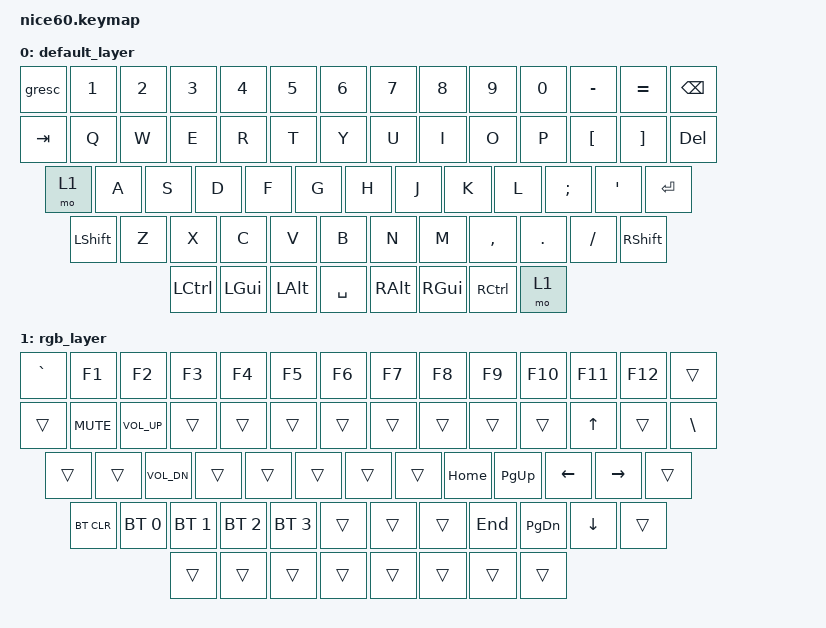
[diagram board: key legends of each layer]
/*
 * Copyright (c) 2021 Nick Winans
 *
 * SPDX-License-Identifier: MIT
 */

#include <behaviors.dtsi>
#include <dt-bindings/zmk/keys.h>
#include <dt-bindings/zmk/rgb.h>
#include <dt-bindings/zmk/bt.h>
#include <dt-bindings/zmk/outputs.h>
#include <dt-bindings/zmk/reset.h>
#include <dt-bindings/zmk/ext_power.h>

/ {
	keymap {
		compatible = "zmk,keymap";
		
		default_layer {
// ------------------------------------------------------------------------------------------
// | ESC |  1  |  2  |  3  |  4  |  5  |  6  |  7  |  8  |  9  |  0  |  -  |  =  |   BKSP   |
// | TAB  |  Q  |  W  |  E  |  R  |  T  |  Y  |  U  |  I  |  O  |  P  |  [  |  ]  |  DEL    |
// | MO(1)  |  A  |  S  |  D  |  F  |  G  |  H  |  J  |  K  |  L  |  ;  |  '  |    ENTER    |
// |  SHIFT  |  Z  |  X  |  C  |  V  |  B  |  N  |  M  |  ,  |  .  |  /  |      SHIFT       |
// |  CTL  |  WIN  |  ALT  |            SPACE              |  ALT  |  WIN  | CTL | MO(1)    |
// ------------------------------------------------------------------------------------------
			bindings = <
	&gresc  &kp N1 &kp N2 &kp N3 &kp N4 &kp N5 &kp N6 &kp N7 &kp N8 &kp N9 &kp N0 &kp MINUS &kp EQUAL  &kp BSPC
	&kp TAB  &kp Q  &kp W  &kp E  &kp R  &kp T  &kp Y  &kp U  &kp I  &kp O  &kp P  &kp LBKT  &kp RBKT   &kp DEL
	&mo 1  &kp A  &kp S  &kp D  &kp F  &kp G  &kp H  &kp J  &kp K  &kp L  &kp SEMI &kp SQT              &kp RET
	&kp LSHFT   &kp Z  &kp X  &kp C  &kp V  &kp B  &kp N  &kp M  &kp COMMA &kp DOT &kp FSLH           &kp RSHFT
	&kp LCTRL &kp LGUI &kp LALT             &kp SPACE                     &kp RALT  &kp RGUI  &kp RCTRL   &mo 1  
			>;
		};
 
		rgb_layer {
// ------------------------------------------------------------------------------------------------
// |    GRAVE     | F1  | F2  | F3  | F4  | F5  | F6  | F7  | F8  | F9  | F10  | F11 | F12 |      |
// |     | C_MUTE  | C_VOL_UP |     |     |    |  |  |   |     |    |     |  UP   |      BSLH     |
// |         |   | C_VOL_DN  |   |   |   |   |   | HOME | PG_UP |  LEFT |  RIGHT   |              |
// |  BT CLR  | BT 1   |  BT 2  |  BT 3     |   BT 4   |   |  |   | END |   PG_DN  |  DOWN   |    |
// |        |      |      |                                     |         |       |       |       |
// ------------------------------------------------------------------------------------------------
			bindings = <
	&kp GRAVE   &kp F1    &kp F2    &kp F3  &kp F4           &kp F5          &kp F6          &kp F7          &kp F8   &kp F9   &kp F10  &kp F11 &kp F12   &trans
	&trans  &kp C_MUTE    &kp C_VOL_UP    &trans  &trans  &trans  &trans  &trans  &trans   &trans   &trans   &kp UP  &trans                             &kp BSLH 
	&trans   &trans  &kp C_VOL_DN  &trans  &trans   &trans   &trans   &trans   &kp HOME   &kp PG_UP   &kp LEFT   &kp RIGHT                                &trans
	&bt BT_CLR    &bt BT_SEL 0  &bt BT_SEL 1    &bt BT_SEL 2   &bt BT_SEL 3      &trans       &trans       &trans      &kp END   &kp PG_DN   &kp DOWN     &trans
	&trans  &trans   &trans                            &trans                                    &trans      &trans      &trans                           &trans
			>;
		};
	};
};
